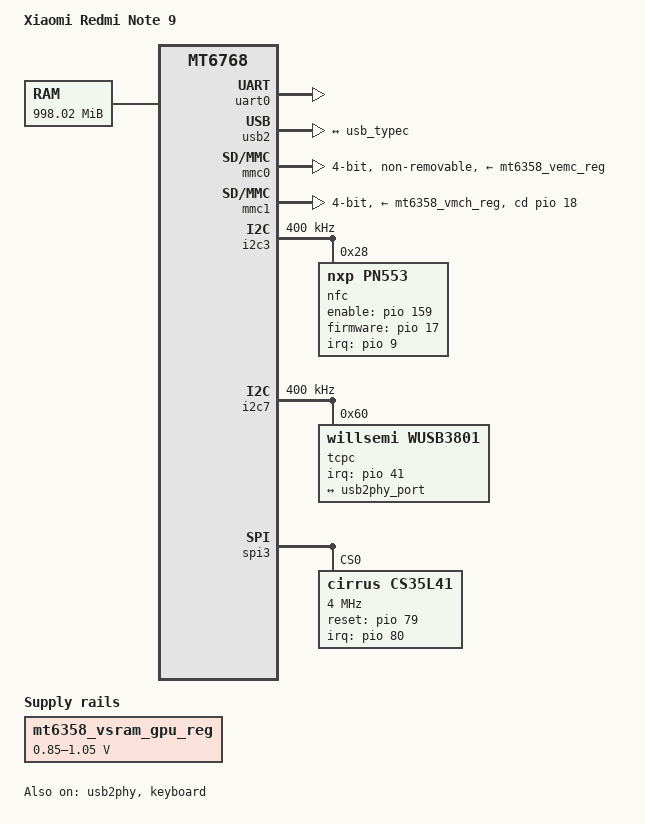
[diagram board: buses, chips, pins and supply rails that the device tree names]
// SPDX-License-Identifier: GPL-2.0-only
/*
 * Device Tree Source for Xiaomi Redmi Note 9
 *
 * Copyright (C) 2022 Jami Kettunen
 * Copyright (c) 2025 Max Shevchenko
 */

/dts-v1/;

#include <dt-bindings/gpio/gpio.h>
#include "mt6769z.dtsi"
#include "mt6358.dtsi"

/ {
	/* NOTE: when /model is defined stock lk bootloader replaces it with "MT6769V/CZ" forcefully :( */
	model = "Xiaomi Redmi Note 9";
	compatible = "xiaomi,merlin", "mediatek,mt6769z", "mediatek,mt6768";

	aliases {
		serial0 = &uart0;
	};

	chosen {
		stdout-path = &framebuffer0;
	};

	/*
	 * HACK: Use display framebuffer setup by the lk bootloader for simplefb
	 * FIXME: only text is rendered on VT (TTY) as an unknown bit has to be flipped to disable
	 *        image compression!
	 * NOTE: for earlyfb to work you currently need original non-multiboot lk bootloader!
	 */
	framebuffer0: framebuffer@7ed58000 {
		compatible = "simple-framebuffer";
		reg = <0x0 0x7d9b0000 0x0 0x2250000>;
		format = "a8r8g8b8";
		width = <1080>;
		stride = <((1080 + 8) * 4)>;
		height = <2340>;
		/* FIXME: look into clocks from downstream to avoid garbled display after clk_disable_unused:
		 * - mtkfb_pins_lcm_rst_out1_gpio
		 * - mtkfb_pins_lcm_rst_out0_gpio
		 * - mtkfb_pins_lcm_dsi_te
		 */
	};

	memory@40000000 {
		device_type = "memory";
		reg = <0x0 0x40000000 0x0 0x3e605000>;
	};
};

&mt6358_vdram2_reg {
	regulator-always-on;
};

&pmic {
	interrupts-extended = <&pio 144 IRQ_TYPE_LEVEL_HIGH>;
};

&uart0 {
	status = "okay";
};

&usb2 {
	status = "okay";

	// In fact this should be under usb2port0...
	port {
		usb2phy_port: endpoint {
			remote-endpoint = <&usb_typec>;
		};
	};
};

&usb2phy {
	status = "okay";
};

&keyboard {
	status = "okay";
	pinctrl-names = "default";
	pinctrl-0 = <&keyboard_pins>;
	linux,keymap = <MATRIX_KEY(0x00, 0x00, KEY_VOLUMEDOWN)>;
	keypad,num-rows = <1>;
	keypad,num-columns = <1>;
	debounce-delay-ms = <32>;
};

&mmc0 {
	status = "okay";
	pinctrl-names = "default", "state_uhs";
	pinctrl-0 = <&mmc0_default_pins>;
	pinctrl-1 = <&mmc0_default_pins>;
	bus-width = <4>;
	max-frequency = <200000000>;
	cap-mmc-highspeed;
	mmc-ddr-1_8v;
	mmc-hs200-1_8v;
	mmc-hs400-1_8v;
	cap-mmc-hw-reset;
	no-sdio;
	no-sd;
	supports-cqe;
	hs400-ds-delay = <0x12814>;
	vmmc-supply = <&mt6358_vemc_reg>;
	vqmmc-supply = <&mt6358_vio18_reg>;
	non-removable;
};

&mmc1 {
	status = "okay";
	pinctrl-names = "default", "state_uhs";
	pinctrl-0 = <&mmc1_default_pins>;
	pinctrl-1 = <&mmc1_uhs_pins>;
	bus-width = <4>;
	max-frequency = <200000000>;
	cap-sd-highspeed;
	sd-uhs-sdr12;
	sd-uhs-sdr25;
	sd-uhs-sdr50;
	sd-uhs-sdr104;
	sd-uhs-ddr50;
	no-mmc;
	no-sdio;
	cd-gpios = <&pio 18 GPIO_ACTIVE_HIGH>;
	vmmc-supply = <&mt6358_vmch_reg>;
	vqmmc-suppply = <&mt6358_vmc_reg>;
};

&gpu {
	mali-supply = <&mt6358_vgpu_reg>;
};

&mt6358_vgpu_reg {
	regulator-max-microvolt = <950000>;
	regulator-always-on;
	regulator-boot-on;

	regulator-coupled-with = <&mt6358_vsram_gpu_reg>;
	regulator-coupled-max-spread = <100000>;
};

&mt6358_vsram_gpu_reg {
	regulator-min-microvolt = <850000>;
	regulator-max-microvolt = <1050000>;
	regulator-always-on;
	regulator-boot-on;

	regulator-coupled-with = <&mt6358_vgpu_reg>;
	regulator-coupled-max-spread = <100000>;
};

&mfg_async {
	domain-supply = <&mt6358_vsram_gpu_reg>;
};

&mfg {
	domain-supply = <&mt6358_vgpu_reg>;
};

&i2c3 {
	status = "okay";
	#address-cells = <1>;
	#size-cells = <0>;
	clock-frequency = <400000>;

	nfc@28 {
		compatible = "nxp,pn553", "nxp,nxp-nci-i2c";
		reg = <0x28>;

		interrupt-parent = <&pio>;
		interrupts = <9 IRQ_TYPE_LEVEL_HIGH>;

		enable-gpios = <&pio 159 GPIO_ACTIVE_HIGH>;
		firmware-gpios = <&pio 17 GPIO_ACTIVE_HIGH>;
        };
};

&i2c7 {
	status = "okay";
	#address-cells = <1>;
	#size-cells = <0>;
	clock-frequency = <400000>;

	tcpc@60 {
		compatible = "willsemi,wusb3801";
		reg = <0x60>;
		interrupt-parent = <&pio>;
		interrupts = <41 IRQ_TYPE_LEVEL_LOW>;

		connector {
			compatible = "usb-c-connector";
			label = "USB-C";
			power-role = "dual";
			try-power-role = "sink";
			data-role = "dual";
			typec-power-opmode = "3.0A";
			pd-disable;

			ports {
				#address-cells = <1>;
				#size-cells = <0>;

				port@0 {
					reg = <0x00>;

					usb_typec: endpoint {
						remote-endpoint = <&usb2phy_port>;
					};
				};
			};
		};
	};
};

&spi3 {
	status = "okay";
	#address-cells = <1>;
	#size-cells = <0>;
	mediatek,pad-select = <0>;

	cs35l41: speaker-amp@0 {
		#sound-dai-cells = <1>;
		compatible = "cirrus,cs35l41";
		reg = <0>;
		spi-max-frequency = <4000000>;
		interrupt-parent = <&pio>;
		interrupts = <80 IRQ_TYPE_LEVEL_LOW>;
		reset-gpios = <&pio 79 GPIO_ACTIVE_HIGH>;

		cirrus,boost-peak-milliamp = <4500>;
		cirrus,boost-ind-nanohenry = <1000>;
		cirrus,boost-cap-microfarad = <15>;
		cirrus,gpio2-src-select = <4>;
		cirrus,gpio2-output-enable;
        };
};

&pio {
	keyboard_pins: keyboard-pins {
		pins {
			pinmux = <PINMUX_GPIO92__FUNC_KPROW0>,
				 <PINMUX_GPIO93__FUNC_KPCOL0>;
		};
	};

	mmc0_default_pins: mmc0-default-pins {
		pins-clk {
			pinmux = <PINMUX_GPIO124__FUNC_MSDC0_CLK>;
			drive-strength = <MTK_DRIVE_4mA>;
			bias-pull-down = <MTK_PUPD_SET_R1R0_10>;
		};

		pins-cmd-dat {
			pinmux = <PINMUX_GPIO123__FUNC_MSDC0_DAT0>,
				 <PINMUX_GPIO128__FUNC_MSDC0_DAT1>,
				 <PINMUX_GPIO125__FUNC_MSDC0_DAT2>,
				 <PINMUX_GPIO132__FUNC_MSDC0_DAT3>,
				 <PINMUX_GPIO126__FUNC_MSDC0_DAT4>,
				 <PINMUX_GPIO129__FUNC_MSDC0_DAT5>,
				 <PINMUX_GPIO127__FUNC_MSDC0_DAT6>,
				 <PINMUX_GPIO130__FUNC_MSDC0_DAT7>,
				 <PINMUX_GPIO122__FUNC_MSDC0_CMD>;
			input-enable;
			drive-strength = <MTK_DRIVE_4mA>;
			bias-pull-up = <MTK_PUPD_SET_R1R0_01>;
		};

		pins_ds {
			pinmux = <PINMUX_GPIO131__FUNC_MSDC0_DSL>;
			drive-strength = <MTK_DRIVE_4mA>;
		};

		pins-rst {
			pinmux = <PINMUX_GPIO133__FUNC_MSDC0_RSTB>;
			drive-strength = <MTK_DRIVE_6mA>;
			bias-pull-up = <MTK_PUPD_SET_R1R0_01>;
		};
	};

	mmc0_uhs_pins: mmc0-uhs-pins {
		pins-clk {
			pinmux = <PINMUX_GPIO124__FUNC_MSDC0_CLK>;
			drive-strength = <MTK_DRIVE_8mA>;
			bias-pull-down = <MTK_PUPD_SET_R1R0_10>;
		};

		pins-cmd-dat {
			pinmux = <PINMUX_GPIO123__FUNC_MSDC0_DAT0>,
				 <PINMUX_GPIO122__FUNC_MSDC0_CMD>;
			input-enable;
			drive-strength = <MTK_DRIVE_8mA>;
			bias-pull-up = <MTK_PUPD_SET_R1R0_01>;
		};

		pins-ds {
			pinmux = <PINMUX_GPIO131__FUNC_MSDC0_DSL>;
			drive-strength = <MTK_DRIVE_8mA>;
			bias-pull-down = <MTK_PUPD_SET_R1R0_10>;
		};

		pins-rst {
			pinmux = <PINMUX_GPIO133__FUNC_MSDC0_RSTB>;
			drive-strength = <MTK_DRIVE_8mA>;
			bias-pull-up = <MTK_PUPD_SET_R1R0_01>;
		};
	};

	mmc1_default_pins: mmc1-default-pins {
		pins-cmd-dat {
		pinmux = <PINMUX_GPIO164__FUNC_MSDC1_DAT0>,
				 <PINMUX_GPIO163__FUNC_MSDC1_DAT1>,
				 <PINMUX_GPIO162__FUNC_MSDC1_DAT2>,
				 <PINMUX_GPIO161__FUNC_MSDC1_DAT3>,
				 <PINMUX_GPIO170__FUNC_MSDC1_CMD>;
			input-enable;
			drive-strength = <MTK_DRIVE_4mA>;
			bias-pull-up = <MTK_PUPD_SET_R1R0_01>;
		};

		pins-clk {
			pinmux = <PINMUX_GPIO171__FUNC_MSDC1_CLK>;
			drive-strength = <MTK_DRIVE_4mA>;
			bias-pull-down = <MTK_PUPD_SET_R1R0_10>;
		};

		pins-insert {
			pinmux = <PINMUX_GPIO18__FUNC_GPIO18>;
			bias-pull-up;
		};
	};

	mmc1_uhs_pins: mmc1-uhs-pins {
		pins-cmd-dat {
			pinmux = <PINMUX_GPIO164__FUNC_MSDC1_DAT0>,
				 <PINMUX_GPIO163__FUNC_MSDC1_DAT1>,
				 <PINMUX_GPIO162__FUNC_MSDC1_DAT2>,
				 <PINMUX_GPIO161__FUNC_MSDC1_DAT3>,
				 <PINMUX_GPIO170__FUNC_MSDC1_CMD>;
			input-enable;
			drive-strength = <MTK_DRIVE_4mA>;
			bias-pull-up = <MTK_PUPD_SET_R1R0_01>;
		};

		pins-clk {
			pinmux = <PINMUX_GPIO171__FUNC_MSDC1_CLK>;
			drive-strength = <MTK_DRIVE_4mA>;
		};
	};

};
